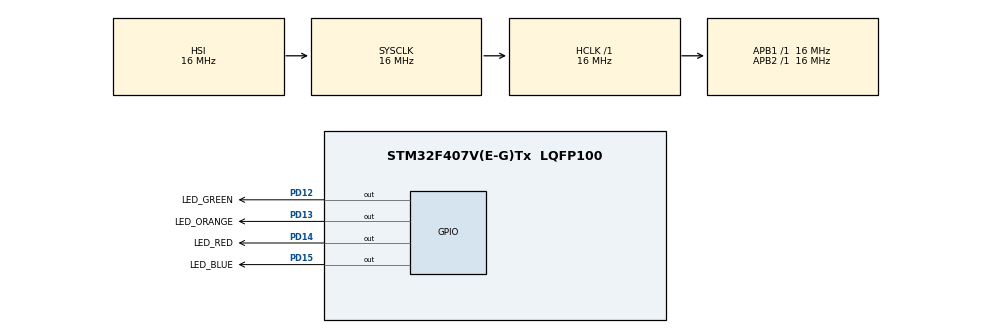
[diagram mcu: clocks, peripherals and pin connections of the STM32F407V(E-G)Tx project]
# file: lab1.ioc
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Mcu.Family=STM32F4
Mcu.Name=STM32F407V(E-G)Tx
Mcu.Package=LQFP100
NVIC.PriorityGroup=NVIC_PRIORITYGROUP_4
PD12.GPIO_Label=LED_GREEN
PD12.Signal=GPIO_Output
PD13.GPIO_Label=LED_ORANGE
PD13.Signal=GPIO_Output
PD14.GPIO_Label=LED_RED
PD14.Signal=GPIO_Output
PD15.GPIO_Label=LED_BLUE
PD15.Signal=GPIO_Output
ProjectManager.HeapSize=0x200
ProjectManager.StackSize=0x400
ProjectManager.TargetToolchain=STM32CubeIDE
RCC.AHBFreq_Value=16000000
RCC.APB1Freq_Value=16000000
RCC.APB2Freq_Value=16000000
RCC.CortexFreq_Value=16000000
RCC.HSE_VALUE=25000000
RCC.HSI_VALUE=16000000
RCC.LSE_VALUE=32768
RCC.SYSCLKFreq_VALUE=16000000
RCC.VCOOutputFreq_Value=192000000
board=custom

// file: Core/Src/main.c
/* USER CODE BEGIN Header */
/**
  ******************************************************************************
  * @file           : main.c
  * @brief          : Main program body
  ******************************************************************************
  * @attention
  *
  * Copyright (c) 2025 STMicroelectronics.
  * All rights reserved.
  *
  * This software is licensed under terms that can be found in the LICENSE file
  * in the root directory of this software component.
  * If no LICENSE file comes with this software, it is provided AS-IS.
  *
  ******************************************************************************
  */
/* USER CODE END Header */
#include "main.h"

/* USER CODE BEGIN PD */
#define GREEN  0b0001
#define ORANGE 0b0010
#define RED    0b0100
#define BLUE   0b1000
/* USER CODE END PD */

void SystemClock_Config(void);
static void MX_GPIO_Init(void);

/* USER CODE BEGIN 0 */
void setLEDs(unsigned mask, GPIO_PinState pinState){
  if(mask & GREEN){
    HAL_GPIO_WritePin(GPIOD, LED_GREEN_Pin, pinState);
  }
  if(mask & ORANGE){
    HAL_GPIO_WritePin(GPIOD, LED_ORANGE_Pin, pinState);
  }
  if(mask & RED){
    HAL_GPIO_WritePin(GPIOD, LED_RED_Pin, pinState);
  }
  if(mask & BLUE){
    HAL_GPIO_WritePin(GPIOD, LED_BLUE_Pin, pinState);
  }
}

/* USER CODE END 0 */

int main(void)
{

  /* USER CODE BEGIN 1 */
  unsigned ledMask = 0;
  /* USER CODE END 1 */

  /* MCU Configuration--------------------------------------------------------*/

  /* Reset of all peripherals, Initializes the Flash interface and the Systick. */
  HAL_Init();

  /* Configure the system clock */
  SystemClock_Config();

  /* Initialize all configured peripherals */
  MX_GPIO_Init();

  /* Infinite loop */
  /* USER CODE BEGIN WHILE */
  while (1)
  {
    setLEDs(ledMask, GPIO_PIN_SET);
    HAL_Delay(500);
    setLEDs(ledMask, GPIO_PIN_RESET);
    HAL_Delay(500);

    if(ledMask == (RED | BLUE | GREEN | ORANGE)){
      ledMask = 0;
    }
    ledMask++;
    /* USER CODE END WHILE */

  }
}

void SystemClock_Config(void)
{
  RCC_OscInitTypeDef RCC_OscInitStruct = {0};
  RCC_ClkInitTypeDef RCC_ClkInitStruct = {0};

  /** Configure the main internal regulator output voltage
  */
  __HAL_RCC_PWR_CLK_ENABLE();
  __HAL_PWR_VOLTAGESCALING_CONFIG(PWR_REGULATOR_VOLTAGE_SCALE1);

  /** Initializes the RCC Oscillators according to the specified parameters
  * in the RCC_OscInitTypeDef structure.
  */
  RCC_OscInitStruct.OscillatorType = RCC_OSCILLATORTYPE_HSI;
  RCC_OscInitStruct.HSIState = RCC_HSI_ON;
  RCC_OscInitStruct.HSICalibrationValue = RCC_HSICALIBRATION_DEFAULT;
  RCC_OscInitStruct.PLL.PLLState = RCC_PLL_NONE;
  if (HAL_RCC_OscConfig(&RCC_OscInitStruct) != HAL_OK)
  {
    Error_Handler();
  }

  /** Initializes the CPU, AHB and APB buses clocks
  */
  RCC_ClkInitStruct.ClockType = RCC_CLOCKTYPE_HCLK|RCC_CLOCKTYPE_SYSCLK
                              |RCC_CLOCKTYPE_PCLK1|RCC_CLOCKTYPE_PCLK2;
  RCC_ClkInitStruct.SYSCLKSource = RCC_SYSCLKSOURCE_HSI;
  RCC_ClkInitStruct.AHBCLKDivider = RCC_SYSCLK_DIV1;
  RCC_ClkInitStruct.APB1CLKDivider = RCC_HCLK_DIV1;
  RCC_ClkInitStruct.APB2CLKDivider = RCC_HCLK_DIV1;

  if (HAL_RCC_ClockConfig(&RCC_ClkInitStruct, FLASH_LATENCY_0) != HAL_OK)
  {
    Error_Handler();
  }
}

static void MX_GPIO_Init(void)
{
  GPIO_InitTypeDef GPIO_InitStruct = {0};

  /* GPIO Ports Clock Enable */
  __HAL_RCC_GPIOD_CLK_ENABLE();

  /*Configure GPIO pin Output Level */
  HAL_GPIO_WritePin(GPIOD, LED_GREEN_Pin|LED_ORANGE_Pin|LED_RED_Pin|LED_BLUE_Pin, GPIO_PIN_RESET);

  /*Configure GPIO pins : LED_GREEN_Pin LED_ORANGE_Pin LED_RED_Pin LED_BLUE_Pin */
  GPIO_InitStruct.Pin = LED_GREEN_Pin|LED_ORANGE_Pin|LED_RED_Pin|LED_BLUE_Pin;
  GPIO_InitStruct.Mode = GPIO_MODE_OUTPUT_PP;
  GPIO_InitStruct.Pull = GPIO_NOPULL;
  GPIO_InitStruct.Speed = GPIO_SPEED_FREQ_LOW;
  HAL_GPIO_Init(GPIOD, &GPIO_InitStruct);

}

void Error_Handler(void)
{
  __disable_irq();
  while (1)
  {
  }
}
